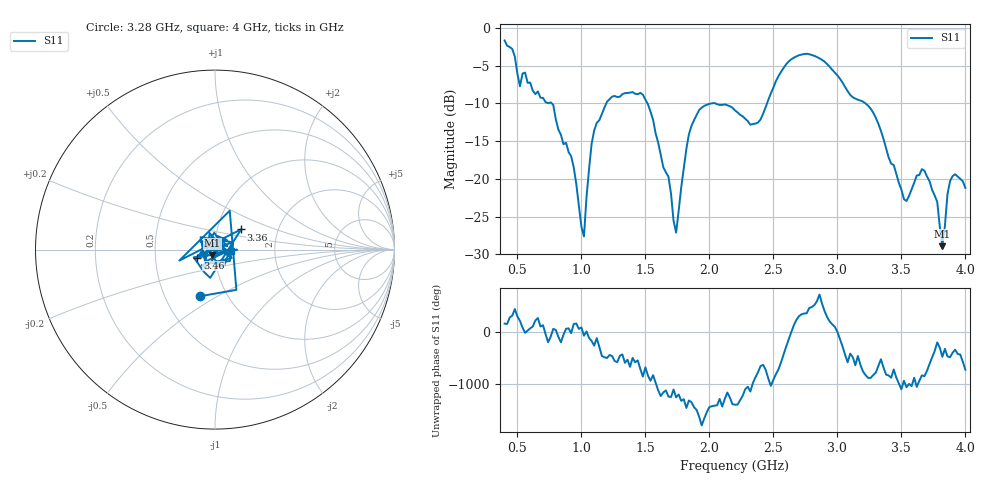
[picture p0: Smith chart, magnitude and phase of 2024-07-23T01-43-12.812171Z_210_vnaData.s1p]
!Created with skrf (http://scikit-rf.org).
# Hz S RI R 50.0
!freq ReS11 ImS11
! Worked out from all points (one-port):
!   181 points, 400 MHz to 4 GHz, reference 50 ohm
!   lowest |S11| = -28.9 dB at 3.82 GHz (marker M1), VSWR 1.07, Z = 48.4 - j3.13 ohm
!   |S11| at or under -10 dB: 768.1 MHz to 1.194 GHz (426.4 MHz wide, 43.5 % of centre); 1.516 GHz to 2.018 GHz (502.2 MHz wide, 28.4 % of centre); 3.219 GHz to end of sweep (the widest 3 of 4)
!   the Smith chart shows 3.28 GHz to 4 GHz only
!   S11 on the Smith chart (normalised r, x): 3.28 GHz: 0.74, -0.42; 3.36 GHz: 1.30, +0.30; 3.46 GHz: 0.82, -0.07; 4 GHz: 1.19, -0.02
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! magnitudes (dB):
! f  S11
! 400 MHz  -1.7
! 520 MHz  -7.7
! 560 MHz  -5.9
! 780 MHz  -10.2
! 860 MHz  -15.4
! 940 MHz  -18.5
! 1.02 GHz  -27.6
! 1.1 GHz  -13.6
! 1.3 GHz  -9.1
! 1.52 GHz  -10.1
! 1.68 GHz  -19.7
! 1.74 GHz  -27.1
! 1.76 GHz  -24.2
! 1.84 GHz  -14.1
! 1.92 GHz  -10.9
! 2.2 GHz  -10.9
! 2.38 GHz  -12.5
! 2.66 GHz  -3.9
! 3.1 GHz  -8.9
! 3.28 GHz  -11.2
! 3.36 GHz  -14.7
! 3.46 GHz  -19.3
! 3.56 GHz  -22.2
! 3.68 GHz  -18.9
! 3.78 GHz  -23.0
! 3.82 GHz  -28.9
! 3.88 GHz  -20.3
! 4 GHz  -21.2
